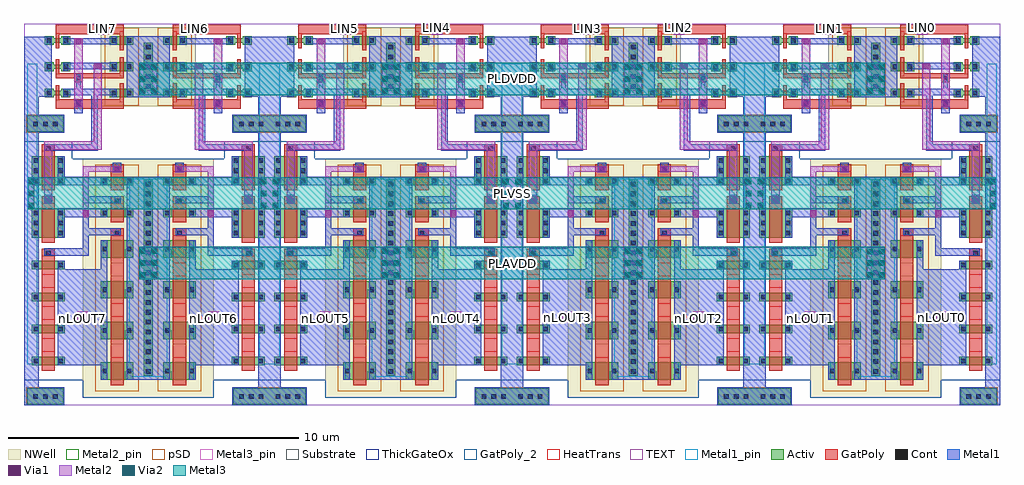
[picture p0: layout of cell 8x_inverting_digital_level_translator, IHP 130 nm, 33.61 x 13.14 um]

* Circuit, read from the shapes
.subckt 8x_inverting_digital_level_translator LIN0 LIN1 LIN2 LIN3 LIN4 LIN5 LIN6 LIN7 PLAVDD PLDVDD PLVSS nLOUT0 nLOUT1 nLOUT2 nLOUT3 nLOUT4 nLOUT5 nLOUT6 nLOUT7
XM1 nLOUT7 n1 PLVSS PLVSS sg13_hv_nmos w=0.3u l=0.45u m=4
XM2 n1 n2 PLVSS PLVSS sg13_hv_nmos w=1u l=0.45u
XM3 n3 n4 PLVSS PLVSS sg13_hv_nmos w=1u l=0.45u
XM4 n4 n5 PLVSS PLVSS sg13_lv_nmos w=0.15u l=0.13u
XM5 n2 n4 PLVSS PLVSS sg13_lv_nmos w=0.15u l=0.13u
XM6 n5 LIN7 PLVSS PLVSS sg13_lv_nmos w=0.15u l=0.13u
XM7 PLVSS n6 n7 PLVSS sg13_lv_nmos w=0.15u l=0.13u
XM8 PLVSS n7 n8 PLVSS sg13_lv_nmos w=0.15u l=0.13u
XM9 PLVSS LIN6 n6 PLVSS sg13_lv_nmos w=0.15u l=0.13u
XM10 PLVSS n9 nLOUT6 PLVSS sg13_hv_nmos w=0.3u l=0.45u m=4
XM11 PLVSS n8 n9 PLVSS sg13_hv_nmos w=1u l=0.45u
XM12 PLVSS n7 n10 PLVSS sg13_hv_nmos w=1u l=0.45u
XM13 nLOUT5 n11 PLVSS PLVSS sg13_hv_nmos w=0.3u l=0.45u m=4
XM14 n11 n12 PLVSS PLVSS sg13_hv_nmos w=1u l=0.45u
XM15 n13 n14 PLVSS PLVSS sg13_hv_nmos w=1u l=0.45u
XM16 n14 n15 PLVSS PLVSS sg13_lv_nmos w=0.15u l=0.13u
XM17 n12 n14 PLVSS PLVSS sg13_lv_nmos w=0.15u l=0.13u
XM18 n15 LIN5 PLVSS PLVSS sg13_lv_nmos w=0.15u l=0.13u
XM19 PLVSS n16 n17 PLVSS sg13_lv_nmos w=0.15u l=0.13u
XM20 PLVSS n17 n18 PLVSS sg13_lv_nmos w=0.15u l=0.13u
XM21 PLVSS LIN4 n16 PLVSS sg13_lv_nmos w=0.15u l=0.13u
XM22 PLVSS n19 nLOUT4 PLVSS sg13_hv_nmos w=0.3u l=0.45u m=4
XM23 PLVSS n18 n19 PLVSS sg13_hv_nmos w=1u l=0.45u
XM24 PLVSS n17 n20 PLVSS sg13_hv_nmos w=1u l=0.45u
XM25 nLOUT3 n21 PLVSS PLVSS sg13_hv_nmos w=0.3u l=0.45u m=4
XM26 n21 n22 PLVSS PLVSS sg13_hv_nmos w=1u l=0.45u
XM27 n23 n24 PLVSS PLVSS sg13_hv_nmos w=1u l=0.45u
XM28 n24 n25 PLVSS PLVSS sg13_lv_nmos w=0.15u l=0.13u
XM29 n22 n24 PLVSS PLVSS sg13_lv_nmos w=0.15u l=0.13u
XM30 n25 LIN3 PLVSS PLVSS sg13_lv_nmos w=0.15u l=0.13u
XM31 PLVSS n26 n27 PLVSS sg13_lv_nmos w=0.15u l=0.13u
XM32 PLVSS n27 n28 PLVSS sg13_lv_nmos w=0.15u l=0.13u
XM33 PLVSS LIN2 n26 PLVSS sg13_lv_nmos w=0.15u l=0.13u
XM34 PLVSS n29 nLOUT2 PLVSS sg13_hv_nmos w=0.3u l=0.45u m=4
XM35 PLVSS n28 n29 PLVSS sg13_hv_nmos w=1u l=0.45u
XM36 PLVSS n27 n30 PLVSS sg13_hv_nmos w=1u l=0.45u
XM37 nLOUT1 n31 PLVSS PLVSS sg13_hv_nmos w=0.3u l=0.45u m=4
XM38 n31 n32 PLVSS PLVSS sg13_hv_nmos w=1u l=0.45u
XM39 n33 n34 PLVSS PLVSS sg13_hv_nmos w=1u l=0.45u
XM40 n34 n35 PLVSS PLVSS sg13_lv_nmos w=0.15u l=0.13u
XM41 n32 n34 PLVSS PLVSS sg13_lv_nmos w=0.15u l=0.13u
XM42 n35 LIN1 PLVSS PLVSS sg13_lv_nmos w=0.15u l=0.13u
XM43 PLVSS n36 n37 PLVSS sg13_lv_nmos w=0.15u l=0.13u
XM44 PLVSS n37 n38 PLVSS sg13_lv_nmos w=0.15u l=0.13u
XM45 PLVSS LIN0 n36 PLVSS sg13_lv_nmos w=0.15u l=0.13u
XM46 PLVSS n39 nLOUT0 PLVSS sg13_hv_nmos w=0.3u l=0.45u m=4
XM47 PLVSS n38 n39 PLVSS sg13_hv_nmos w=1u l=0.45u
XM48 PLVSS n37 n40 PLVSS sg13_hv_nmos w=1u l=0.45u
XM49 PLAVDD n1 nLOUT7 PLAVDD sg13_hv_pmos w=0.6u l=0.45u m=4
XM50 PLAVDD n3 n1 PLAVDD sg13_hv_pmos w=0.3u l=0.45u
XM51 PLAVDD n1 n3 PLAVDD sg13_hv_pmos w=0.3u l=0.45u
XM52 PLDVDD n5 n4 PLDVDD sg13_lv_pmos w=0.3u l=0.13u
XM53 PLDVDD n4 n2 PLDVDD sg13_lv_pmos w=0.3u l=0.13u
XM54 PLDVDD LIN7 n5 PLDVDD sg13_lv_pmos w=0.3u l=0.13u
XM55 nLOUT6 n9 PLAVDD PLAVDD sg13_hv_pmos w=0.6u l=0.45u m=4
XM56 n9 n10 PLAVDD PLAVDD sg13_hv_pmos w=0.3u l=0.45u
XM57 n10 n9 PLAVDD PLAVDD sg13_hv_pmos w=0.3u l=0.45u
XM58 n7 n6 PLDVDD PLDVDD sg13_lv_pmos w=0.3u l=0.13u
XM59 n8 n7 PLDVDD PLDVDD sg13_lv_pmos w=0.3u l=0.13u
XM60 n6 LIN6 PLDVDD PLDVDD sg13_lv_pmos w=0.3u l=0.13u
XM61 PLAVDD n11 nLOUT5 PLAVDD sg13_hv_pmos w=0.6u l=0.45u m=4
XM62 PLAVDD n13 n11 PLAVDD sg13_hv_pmos w=0.3u l=0.45u
XM63 PLAVDD n11 n13 PLAVDD sg13_hv_pmos w=0.3u l=0.45u
XM64 PLDVDD n15 n14 PLDVDD sg13_lv_pmos w=0.3u l=0.13u
XM65 PLDVDD n14 n12 PLDVDD sg13_lv_pmos w=0.3u l=0.13u
XM66 PLDVDD LIN5 n15 PLDVDD sg13_lv_pmos w=0.3u l=0.13u
XM67 nLOUT4 n19 PLAVDD PLAVDD sg13_hv_pmos w=0.6u l=0.45u m=4
XM68 n19 n20 PLAVDD PLAVDD sg13_hv_pmos w=0.3u l=0.45u
XM69 n20 n19 PLAVDD PLAVDD sg13_hv_pmos w=0.3u l=0.45u
XM70 n17 n16 PLDVDD PLDVDD sg13_lv_pmos w=0.3u l=0.13u
XM71 n18 n17 PLDVDD PLDVDD sg13_lv_pmos w=0.3u l=0.13u
XM72 n16 LIN4 PLDVDD PLDVDD sg13_lv_pmos w=0.3u l=0.13u
XM73 PLAVDD n21 nLOUT3 PLAVDD sg13_hv_pmos w=0.6u l=0.45u m=4
XM74 PLAVDD n23 n21 PLAVDD sg13_hv_pmos w=0.3u l=0.45u
XM75 PLAVDD n21 n23 PLAVDD sg13_hv_pmos w=0.3u l=0.45u
XM76 PLDVDD n25 n24 PLDVDD sg13_lv_pmos w=0.3u l=0.13u
XM77 PLDVDD n24 n22 PLDVDD sg13_lv_pmos w=0.3u l=0.13u
XM78 PLDVDD LIN3 n25 PLDVDD sg13_lv_pmos w=0.3u l=0.13u
XM79 nLOUT2 n29 PLAVDD PLAVDD sg13_hv_pmos w=0.6u l=0.45u m=4
XM80 n29 n30 PLAVDD PLAVDD sg13_hv_pmos w=0.3u l=0.45u
XM81 n30 n29 PLAVDD PLAVDD sg13_hv_pmos w=0.3u l=0.45u
XM82 n27 n26 PLDVDD PLDVDD sg13_lv_pmos w=0.3u l=0.13u
XM83 n28 n27 PLDVDD PLDVDD sg13_lv_pmos w=0.3u l=0.13u
XM84 n26 LIN2 PLDVDD PLDVDD sg13_lv_pmos w=0.3u l=0.13u
XM85 PLAVDD n31 nLOUT1 PLAVDD sg13_hv_pmos w=0.6u l=0.45u m=4
XM86 PLAVDD n33 n31 PLAVDD sg13_hv_pmos w=0.3u l=0.45u
XM87 PLAVDD n31 n33 PLAVDD sg13_hv_pmos w=0.3u l=0.45u
XM88 PLDVDD n35 n34 PLDVDD sg13_lv_pmos w=0.3u l=0.13u
XM89 PLDVDD n34 n32 PLDVDD sg13_lv_pmos w=0.3u l=0.13u
XM90 PLDVDD LIN1 n35 PLDVDD sg13_lv_pmos w=0.3u l=0.13u
XM91 nLOUT0 n39 PLAVDD PLAVDD sg13_hv_pmos w=0.6u l=0.45u m=4
XM92 n39 n40 PLAVDD PLAVDD sg13_hv_pmos w=0.3u l=0.45u
XM93 n40 n39 PLAVDD PLAVDD sg13_hv_pmos w=0.3u l=0.45u
XM94 n37 n36 PLDVDD PLDVDD sg13_lv_pmos w=0.3u l=0.13u
XM95 n38 n37 PLDVDD PLDVDD sg13_lv_pmos w=0.3u l=0.13u
XM96 n36 LIN0 PLDVDD PLDVDD sg13_lv_pmos w=0.3u l=0.13u
.ends

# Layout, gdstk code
from math import pi, radians
import gdstk
lib = gdstk.Library(unit=1e-6, precision=5e-09)
def R(c, l, rs):  # rectangles x0, y0, x1, y1
    for r in rs: c.add(gdstk.rectangle(r[:2], r[2:], *l))
def A(c, l, x, y, w, h, nx, ny, dx, dy):  # array of equal rectangles
    R(c, l, [(x+i*dx, y+j*dy, x+i*dx+w, y+j*dy+h) for i in range(nx) for j in range(ny)])
Activ = (1, 0)
GatPoly = (5, 0)
GatPoly_2 = (5, 2)
Cont = (6, 0)
Metal1 = (8, 0)
Metal1_pin = (8, 2)
Metal2 = (10, 0)
Metal2_pin = (10, 2)
pSD = (14, 0)
Via1 = (19, 0)
Via2 = (29, 0)
Metal3 = (30, 0)
Metal3_pin = (30, 2)
NWell = (31, 0)
Substrate = (40, 0)
ThickGateOx = (44, 0)
HeatTrans = (51, 0)
TEXT = (63, 0)

via_stack_6 = lib.new_cell('via_stack$6')
R(via_stack_6, Activ, [(-0.83,-0.15,0.83,0.15)])
A(via_stack_6, Cont, -0.76, -0.08, 0.16, 0.16, 5, 1, 0.34, 0)
R(via_stack_6, Metal1, [(-0.81,-0.08,0.81,0.08)])

nmoshv_1 = lib.new_cell('nmosHV$1')
R(nmoshv_1, Activ, [(0,0,0.3,0.3), (0,0,1.13,1), (0.83,0,1.13,0.3)])
R(nmoshv_1, GatPoly, [(0.34,-0.18,0.79,1.18)])
R(nmoshv_1, GatPoly_2, [(0.34,-0.18,0.79,1.18)])
A(nmoshv_1, Cont, 0.07, 0.07, 0.16, 0.16, 1, 3, 0, 0.35)
A(nmoshv_1, Cont, 0.9, 0.07, 0.16, 0.16, 1, 3, 0, 0.35)
R(nmoshv_1, Metal1, [(0.07,0,0.23,1), (0.9,0,1.06,1)])
R(nmoshv_1, Metal1_pin, [(0.07,0,0.23,1), (0.9,0,1.06,1)])
R(nmoshv_1, ThickGateOx, [(-0.27,-0.52,1.4,1.52)])
R(nmoshv_1, HeatTrans, [(0.34,-0.18,0.79,1.18)])
nmoshv_1.add(gdstk.Label('nmosHV', (0.565,0.5), layer=63, texttype=0))
nmoshv_1.add(gdstk.Label('nmosHV', (0.565,0.5), layer=51, texttype=0))

via_stack_3 = lib.new_cell('via_stack$3')
R(via_stack_3, GatPoly, [(-0.15,-0.15,0.15,0.15)])
R(via_stack_3, Cont, [(-0.08,-0.08,0.08,0.08)])
R(via_stack_3, Metal1, [(-0.145,-0.105,0.145,0.105)])
R(via_stack_3, Metal2, [(-0.145,-0.1,0.145,0.1)])
R(via_stack_3, Via1, [(-0.095,-0.095,0.095,0.095)])

pmoshv_1 = lib.new_cell('pmosHV$1')
R(pmoshv_1, Activ, [(0,0,0.3,0.3), (0,0,1.13,0.3), (0.83,0,1.13,0.3)])
R(pmoshv_1, GatPoly, [(0.34,-0.18,0.79,0.48)])
R(pmoshv_1, GatPoly_2, [(0.34,-0.18,0.79,0.48)])
R(pmoshv_1, Cont, [(0.07,0.07,0.23,0.23), (0.9,0.07,1.06,0.23)])
R(pmoshv_1, Metal1, [(0.07,0,0.23,0.3), (0.9,0,1.06,0.3)])
R(pmoshv_1, Metal1_pin, [(0.07,0,0.23,0.3), (0.9,0,1.06,0.3)])
R(pmoshv_1, pSD, [(-0.18,-0.4,1.31,0.7)])
R(pmoshv_1, NWell, [(-0.62,-0.62,1.75,0.92)])
R(pmoshv_1, Substrate, [(0.83,0,1.13,0.3)])
R(pmoshv_1, ThickGateOx, [(-0.62,-0.62,1.75,0.92)])
R(pmoshv_1, HeatTrans, [(0.34,-0.18,0.79,0.48)])
pmoshv_1.add(gdstk.Label('pmosHV', (0.565,0.15), layer=63, texttype=0))
pmoshv_1.add(gdstk.Label('pmos', (0.565,0.15), layer=51, texttype=0))

via_stack_5 = lib.new_cell('via_stack$5')
R(via_stack_5, Activ, [(-3.38,-0.15,3.38,0.15)])
A(via_stack_5, Cont, -3.31, -0.08, 0.16, 0.16, 20, 1, 0.34, 0)
R(via_stack_5, Metal1, [(-3.36,-0.08,3.36,0.08)])

pmoshv = lib.new_cell('pmosHV')
R(pmoshv, Activ, [(0,0,0.3,0.3), (0,0,1.13,0.6), (0.83,0,1.13,0.3)])
R(pmoshv, GatPoly, [(0.34,-0.18,0.79,0.78)])
R(pmoshv, GatPoly_2, [(0.34,-0.18,0.79,0.78)])
R(pmoshv, Cont, [(0.07,0.22,0.23,0.38), (0.9,0.22,1.06,0.38)])
R(pmoshv, Metal1, [(0.07,0,0.23,0.6), (0.9,0,1.06,0.6)])
R(pmoshv, Metal1_pin, [(0.07,0,0.23,0.6), (0.9,0,1.06,0.6)])
R(pmoshv, pSD, [(-0.18,-0.4,1.31,1)])
R(pmoshv, NWell, [(-0.62,-0.62,1.75,1.22)])
R(pmoshv, Substrate, [(0.83,0,1.13,0.3)])
R(pmoshv, ThickGateOx, [(-0.62,-0.62,1.75,1.22)])
R(pmoshv, HeatTrans, [(0.34,-0.18,0.79,0.78)])
pmoshv.add(gdstk.Label('pmosHV', (0.565,0.3), layer=63, texttype=0))
pmoshv.add(gdstk.Label('pmos', (0.565,0.3), layer=51, texttype=0))

nmoshv = lib.new_cell('nmosHV')
R(nmoshv, Activ, [(0,0,0.3,0.3), (0,0,1.13,0.3), (0.83,0,1.13,0.3)])
R(nmoshv, GatPoly, [(0.34,-0.18,0.79,0.48)])
R(nmoshv, GatPoly_2, [(0.34,-0.18,0.79,0.48)])
R(nmoshv, Cont, [(0.07,0.07,0.23,0.23), (0.9,0.07,1.06,0.23)])
R(nmoshv, Metal1, [(0.07,0,0.23,0.3), (0.9,0,1.06,0.3)])
R(nmoshv, Metal1_pin, [(0.07,0,0.23,0.3), (0.9,0,1.06,0.3)])
R(nmoshv, ThickGateOx, [(-0.27,-0.52,1.4,0.82)])
R(nmoshv, HeatTrans, [(0.34,-0.18,0.79,0.48)])
nmoshv.add(gdstk.Label('nmosHV', (0.565,0.15), layer=63, texttype=0))
nmoshv.add(gdstk.Label('nmosHV', (0.565,0.15), layer=51, texttype=0))

via_stack_1 = lib.new_cell('via_stack$1')
R(via_stack_1, Metal1, [(-0.145,-0.105,0.145,0.105)])
R(via_stack_1, Metal2, [(-0.145,-0.1,0.145,0.1)])
R(via_stack_1, Via1, [(-0.095,-0.095,0.095,0.095)])

via_stack_4 = lib.new_cell('via_stack$4')
R(via_stack_4, GatPoly, [(-0.15,-0.15,0.15,0.15)])
R(via_stack_4, Cont, [(-0.08,-0.08,0.08,0.08)])
R(via_stack_4, Metal1, [(-0.13,-0.08,0.13,0.08)])

nmos = lib.new_cell('nmos')
R(nmos, Activ, [(0,0,0.3,0.3), (0.57,0,0.87,0.3), (0,0.075,0.87,0.225)])
R(nmos, GatPoly, [(0.37,-0.105,0.5,0.405)])
R(nmos, GatPoly_2, [(0.37,-0.105,0.5,0.405)])
R(nmos, Cont, [(0.07,0.07,0.23,0.23), (0.64,0.07,0.8,0.23)])
R(nmos, Metal1, [(0.07,0.02,0.23,0.28), (0.64,0.02,0.8,0.28)])
R(nmos, Metal1_pin, [(0.07,0.02,0.23,0.28), (0.64,0.02,0.8,0.28)])
R(nmos, HeatTrans, [(0.37,-0.105,0.5,0.405)])
nmos.add(gdstk.Label('nmos', (0.435,0.15), layer=63, texttype=0))
nmos.add(gdstk.Label('nmos', (0.435,0.15), layer=51, texttype=0))

pmos_1 = lib.new_cell('pmos$1')
R(pmos_1, Activ, [(0,0,0.3,0.3), (0,0,0.81,0.3), (0.51,0,0.81,0.3)])
R(pmos_1, GatPoly, [(0.34,-0.18,0.47,0.48), (0.34,-0.18,0.47,0.48)])
R(pmos_1, Cont, [(0.07,0.07,0.23,0.23), (0.58,0.07,0.74,0.23)])
R(pmos_1, Metal1, [(0.07,0,0.23,0.3), (0.07,0,0.23,0.3), (0.58,0,0.74,0.3), (0.58,0,0.74,0.3)])
R(pmos_1, pSD, [(-0.18,-0.3,0.99,0.6)])
R(pmos_1, NWell, [(-0.31,-0.31,1.12,0.61)])
R(pmos_1, Substrate, [(0.51,0,0.81,0.3)])
R(pmos_1, HeatTrans, [(0.34,-0.18,0.47,0.48)])
pmos_1.add(gdstk.Label('pmos', (0.405,0.15), layer=63, texttype=0))
pmos_1.add(gdstk.Label('pmos', (0.405,0.15), layer=51, texttype=0))

via_stack = lib.new_cell('via_stack')
R(via_stack, Activ, [(-0.49,-0.15,0.49,0.15)])
A(via_stack, Cont, -0.42, -0.08, 0.16, 0.16, 3, 1, 0.34, 0)
R(via_stack, Metal1, [(-0.47,-0.08,0.47,0.08)])

inverting_digital_level_ = lib.new_cell('inverting_digital_level_translator')
R(inverting_digital_level_, Activ, [(4.03,0.825,4.59,2.065), (13.415,0.825,13.975,2.065)])
A(inverting_digital_level_, GatPoly, 5.01, 1.32, 0.235, 0.45, 3, 1, 1.8, 0)
A(inverting_digital_level_, GatPoly, 9.505, 1.32, 0.44, 0.45, 3, 1, 1.1, 0)
A(inverting_digital_level_, GatPoly, 5.71, 3.69, 0.235, 0.45, 3, 1, 1.1, 0)
A(inverting_digital_level_, GatPoly, 9.105, 3.69, 0.44, 0.45, 3, 1, 1.4, 0)
R(inverting_digital_level_, GatPoly, [(0.9,1.8,1.225,4.14), (2.565,1.8,2.735,4.14), (3.465,1.8,3.635,4.14), (3.635,1.8,3.785,2.435), (3.635,2.735,3.785,4.14)])
A(inverting_digital_level_, Metal1, 9.025, 1.88, 1.4, 0.23, 3, 1, 1.1, 0)
R(inverting_digital_level_, Metal1, [(1.315,0.71,14.005,1.21), (1.315,0.79,3.375,1.66), (4,1.21,4.62,2.095), (13.385,1.21,14.005,2.095), (6.75,1.4,7.07,1.69), (5.015,1.415,5.245,3.025), (8.6,1.415,8.845,2.73), (5.425,1.88,6.425,2.11), (7.225,1.88,8.225,2.11), (6.125,2.04,6.425,3.42), (7.225,2.04,7.525,3.42), (1.365,2.07,1.575,3.9), (2.215,2.07,2.425,3.9), (3.095,2.07,3.325,3.9), (9.325,2.11,12.625,3.35), (3.505,2.435,3.945,2.735), (2.865,2.505,3.095,2.665), (6.425,2.73,6.805,2.945), (6.805,2.73,7.045,4.045), (7.525,2.73,7.905,2.945), (7.905,2.73,8.145,4.045), (7.905,2.73,8.845,2.945), (3.325,3.025,5.245,3.255), (0.895,3.24,1.185,3.57), (8.325,3.35,10.325,3.58), (10.325,3.35,13.125,3.58), (5.65,3.77,5.97,4.06), (1.295,4.25,3.395,5.14), (6.125,4.25,13.125,5.14)])
R(inverting_digital_level_, Metal1_pin, [(2.24,0.815,12.59,1.17), (1.295,4.25,3.395,5.14), (6.195,4.33,13.025,5.06)])
R(inverting_digital_level_, Metal2, [(10.785,2.54,11.165,2.92), (0.86,3.215,1.24,3.595)])
R(inverting_digital_level_, Metal2_pin, [(10.83,2.6,11.125,2.865), (0.935,3.3,1.165,3.51)])
R(inverting_digital_level_, pSD, [(4,0.795,4.62,2.095), (13.385,0.795,14.005,2.095)])
R(inverting_digital_level_, NWell, [(0.985,4.79,3.705,5.45), (1.885,4.79,3.705,5.45), (5.505,5.1,13.745,5.76)])
R(inverting_digital_level_, ThickGateOx, [(5.505,2.38,10.945,2.73), (10.945,2.38,13.145,2.73), (5.505,5.1,13.745,5.76)])
R(inverting_digital_level_, TEXT, [(0.86,0.71,14.005,5.76)])
inverting_digital_level_.add(gdstk.FlexPath([(1.57,2.585),(3.535,2.585),(3.535,2.585)], 0.29, ends="flush", simple_path=True, layer=10, datatype=0))  # Metal2
inverting_digital_level_.add(gdstk.FlexPath([(7.23,2.835),(5.865,2.835),(5.865,3.77)], 0.2, ends="flush", simple_path=True, layer=10, datatype=0))  # Metal2
inverting_digital_level_.add(gdstk.FlexPath([(2.42,3.25),(5.06,3.25),(5.06,2.13)], 0.29, ends="flush", simple_path=True, layer=10, datatype=0))  # Metal2
inverting_digital_level_.add(gdstk.FlexPath([(6.865,1.545),(5.06,1.545),(5.06,2.13)], 0.29, ends="flush", simple_path=True, layer=10, datatype=0))  # Metal2
inverting_digital_level_.add(gdstk.Reference(via_stack_6, (2.345,4.99), rotation=pi))
inverting_digital_level_.add(gdstk.Reference(nmoshv_1, (6.425,0.98), rotation=pi/2))
inverting_digital_level_.add(gdstk.Reference(via_stack_3, (6.965,1.545), rotation=pi/2))
inverting_digital_level_.add(gdstk.Reference(pmoshv_1, (6.425,3.35), rotation=pi/2))
inverting_digital_level_.add(gdstk.Reference(via_stack_3, (1.04,3.405)))
inverting_digital_level_.add(gdstk.Reference(nmoshv_1, (8.225,0.98), rotation=pi/2))
inverting_digital_level_.add(gdstk.Reference(pmoshv_1, (7.525,3.35), rotation=pi/2))
inverting_digital_level_.add(gdstk.Reference(via_stack_5, (9.61,4.99), rotation=pi))
inverting_digital_level_.add(gdstk.Reference(pmoshv, (8.925,3.35), rotation=pi/2))
inverting_digital_level_.add(gdstk.Reference(pmoshv, (10.325,3.35), rotation=pi/2))
inverting_digital_level_.add(gdstk.Reference(nmoshv, (9.325,0.98), rotation=pi/2))
inverting_digital_level_.add(gdstk.Reference(nmoshv, (10.425,0.98), rotation=pi/2))
inverting_digital_level_.add(gdstk.Reference(via_stack_1, (10.975,2.73), rotation=pi))
inverting_digital_level_.add(gdstk.Reference(via_stack_4, (8.065,3.915), rotation=pi/2))
inverting_digital_level_.add(gdstk.Reference(via_stack_4, (6.965,3.915), rotation=pi/2))
inverting_digital_level_.add(gdstk.Reference(via_stack_3, (5.865,3.915), rotation=pi/2))
inverting_digital_level_.add(gdstk.Reference(via_stack_1, (7.375,2.835), rotation=pi))
inverting_digital_level_.add(gdstk.Reference(via_stack_4, (2.735,2.585), rotation=pi))
inverting_digital_level_.add(gdstk.Reference(via_stack_4, (8.765,1.545), rotation=pi/2))
inverting_digital_level_.add(gdstk.Reference(via_stack_4, (5.165,1.545), rotation=pi/2))
inverting_digital_level_.add(gdstk.Reference(via_stack_1, (2.32,3.25), rotation=pi/2))
inverting_digital_level_.add(gdstk.Reference(nmos, (2.495,1.43), rotation=pi/2))
inverting_digital_level_.add(gdstk.Reference(pmos_1, (2.495,3.67), rotation=pi/2))
inverting_digital_level_.add(gdstk.Reference(pmos_1, (3.395,3.67), rotation=pi/2))
inverting_digital_level_.add(gdstk.Reference(nmos, (3.395,1.43), rotation=pi/2))
inverting_digital_level_.add(gdstk.Reference(nmoshv, (12.625,0.98), rotation=pi/2))
inverting_digital_level_.add(gdstk.Reference(nmoshv, (11.525,0.98), rotation=pi/2))
inverting_digital_level_.add(gdstk.Reference(pmoshv, (13.125,3.35), rotation=pi/2))
inverting_digital_level_.add(gdstk.Reference(pmoshv, (11.725,3.35), rotation=pi/2))
inverting_digital_level_.add(gdstk.Reference(via_stack, (4.31,1.445), rotation=pi/2))
inverting_digital_level_.add(gdstk.Reference(via_stack, (13.695,1.445), rotation=pi/2))
inverting_digital_level_.add(gdstk.Reference(via_stack_3, (3.635,2.585), rotation=pi/2))
inverting_digital_level_.add(gdstk.Reference(via_stack_1, (1.47,2.585), rotation=pi/2))
inverting_digital_level_.add(gdstk.Reference(nmos, (1.595,1.43), rotation=pi/2))
inverting_digital_level_.add(gdstk.Reference(pmos_1, (1.595,3.67), rotation=pi/2))
inverting_digital_level_.add(gdstk.Label('LIN', (1.055,3.415), layer=10, texttype=25))
inverting_digital_level_.add(gdstk.Label('NLOUT', (10.975,2.73), layer=10, texttype=25))
inverting_digital_level_.add(gdstk.Label('PLAVDD', (9.29,4.695), layer=8, texttype=25))
inverting_digital_level_.add(gdstk.Label('PLVSS', (7.2,0.98), layer=8, texttype=25))
inverting_digital_level_.add(gdstk.Label('PLDVDD', (2.795,4.84), layer=8, texttype=25))

via_stack_9 = lib.new_cell('via_stack$9')
R(via_stack_9, Metal1, [(-0.31,-0.555,0.31,0.555)])
R(via_stack_9, Metal2, [(-0.305,-0.555,0.305,0.555)])
A(via_stack_9, Via1, -0.3, -0.505, 0.19, 0.19, 1, 3, 0, 0.41)
A(via_stack_9, Via1, 0.11, -0.505, 0.19, 0.19, 1, 3, 0, 0.41)
A(via_stack_9, Via2, -0.3, -0.505, 0.19, 0.19, 1, 3, 0, 0.41)
A(via_stack_9, Via2, 0.11, -0.505, 0.19, 0.19, 1, 3, 0, 0.41)
R(via_stack_9, Metal3, [(-0.305,-0.555,0.305,0.555)])

via_stack_7 = lib.new_cell('via_stack$7')
R(via_stack_7, Metal1, [(-0.105,-0.555,0.105,0.555)])
R(via_stack_7, Metal2, [(-0.1,-0.555,0.1,0.555)])
A(via_stack_7, Via1, -0.095, -0.505, 0.19, 0.19, 1, 3, 0, 0.41)
A(via_stack_7, Via2, -0.095, -0.505, 0.19, 0.19, 1, 3, 0, 0.41)
R(via_stack_7, Metal3, [(-0.1,-0.555,0.1,0.555)])

c_8x_inverting_digital_lev = lib.new_cell('8x_inverting_digital_level_translator')
A(c_8x_inverting_digital_lev, Activ, 8.445, 0.03, 0.02, 0.56, 3, 2, 8.35, 9.385)
R(c_8x_inverting_digital_lev, Metal3, [(3.975,4.34,29.635,5.455), (0.145,6.745,33.465,7.855), (3.975,10.685,29.635,11.795)])
R(c_8x_inverting_digital_lev, Metal3_pin, [(3.975,4.34,29.635,5.45), (0.145,6.745,33.465,7.855), (3.975,10.685,29.635,11.795)])
c_8x_inverting_digital_lev.add(gdstk.Reference(inverting_digital_level_, (-0.71,14.005), rotation=3*pi/2))
c_8x_inverting_digital_lev.add(gdstk.Reference(inverting_digital_level_, (9.27,14.005), rotation=3*pi/2, x_reflection=True))
c_8x_inverting_digital_lev.add(gdstk.Reference(inverting_digital_level_, (7.64,14.005), rotation=3*pi/2))
c_8x_inverting_digital_lev.add(gdstk.Reference(inverting_digital_level_, (17.62,14.005), rotation=3*pi/2, x_reflection=True))
c_8x_inverting_digital_lev.add(gdstk.Reference(inverting_digital_level_, (15.99,14.005), rotation=3*pi/2))
c_8x_inverting_digital_lev.add(gdstk.Reference(inverting_digital_level_, (25.97,14.005), rotation=3*pi/2, x_reflection=True))
c_8x_inverting_digital_lev.add(gdstk.Reference(inverting_digital_level_, (24.34,14.005), rotation=3*pi/2))
c_8x_inverting_digital_lev.add(gdstk.Reference(inverting_digital_level_, (34.32,14.005), rotation=3*pi/2, x_reflection=True))
c_8x_inverting_digital_lev.add(gdstk.Reference(via_stack_9, (4.28,11.24)))
c_8x_inverting_digital_lev.add(gdstk.Reference(via_stack_9, (12.63,11.24)))
c_8x_inverting_digital_lev.add(gdstk.Reference(via_stack_9, (20.98,11.24)))
c_8x_inverting_digital_lev.add(gdstk.Reference(via_stack_9, (29.33,11.24)))
c_8x_inverting_digital_lev.add(gdstk.Reference(via_stack_9, (4.28,4.9)))
c_8x_inverting_digital_lev.add(gdstk.Reference(via_stack_9, (12.63,4.9)))
c_8x_inverting_digital_lev.add(gdstk.Reference(via_stack_9, (20.98,4.9)))
c_8x_inverting_digital_lev.add(gdstk.Reference(via_stack_9, (29.33,4.895)))
c_8x_inverting_digital_lev.add(gdstk.Reference(via_stack_7, (0.245,7.3)))
c_8x_inverting_digital_lev.add(gdstk.Reference(via_stack_9, (8.455,7.3)))
c_8x_inverting_digital_lev.add(gdstk.Reference(via_stack_9, (16.805,7.3)))
c_8x_inverting_digital_lev.add(gdstk.Reference(via_stack_9, (25.155,7.3)))
c_8x_inverting_digital_lev.add(gdstk.Reference(via_stack_7, (33.365,7.3)))
c_8x_inverting_digital_lev.add(gdstk.Label('LIN0', (30.92,12.995), layer=10, texttype=25))
c_8x_inverting_digital_lev.add(gdstk.Label('LIN1', (27.745,12.99), layer=10, texttype=25))
c_8x_inverting_digital_lev.add(gdstk.Label('LIN2', (22.555,12.995), layer=10, texttype=25))
c_8x_inverting_digital_lev.add(gdstk.Label('LIN3', (19.395,12.985), layer=10, texttype=25))
c_8x_inverting_digital_lev.add(gdstk.Label('LIN4', (14.215,12.995), layer=10, texttype=25))
c_8x_inverting_digital_lev.add(gdstk.Label('LIN5', (11.045,12.98), layer=10, texttype=25))
c_8x_inverting_digital_lev.add(gdstk.Label('LIN6', (5.86,12.98), layer=10, texttype=25))
c_8x_inverting_digital_lev.add(gdstk.Label('LIN7', (2.695,12.975), layer=10, texttype=25))
c_8x_inverting_digital_lev.add(gdstk.Label('nLOUT0', (31.59,3.015), layer=10, texttype=25))
c_8x_inverting_digital_lev.add(gdstk.Label('nLOUT1', (27.07,3), layer=10, texttype=25))
c_8x_inverting_digital_lev.add(gdstk.Label('nLOUT2', (23.24,3.005), layer=10, texttype=25))
c_8x_inverting_digital_lev.add(gdstk.Label('nLOUT3', (18.72,3.01), layer=10, texttype=25))
c_8x_inverting_digital_lev.add(gdstk.Label('nLOUT4', (14.89,2.99), layer=10, texttype=25))
c_8x_inverting_digital_lev.add(gdstk.Label('nLOUT5', (10.37,3), layer=10, texttype=25))
c_8x_inverting_digital_lev.add(gdstk.Label('nLOUT6', (6.54,3), layer=10, texttype=25))
c_8x_inverting_digital_lev.add(gdstk.Label('nLOUT7', (2.02,2.995), layer=10, texttype=25))
c_8x_inverting_digital_lev.add(gdstk.Label('PLDVDD', (16.805,11.24), layer=30, texttype=25))
c_8x_inverting_digital_lev.add(gdstk.Label('PLAVDD', (16.805,4.895), layer=30, texttype=25))
c_8x_inverting_digital_lev.add(gdstk.Label('PLVSS', (16.805,7.3), layer=30, texttype=25))

lib.write_gds('8x_inverting_digital_level_translator.gds')
